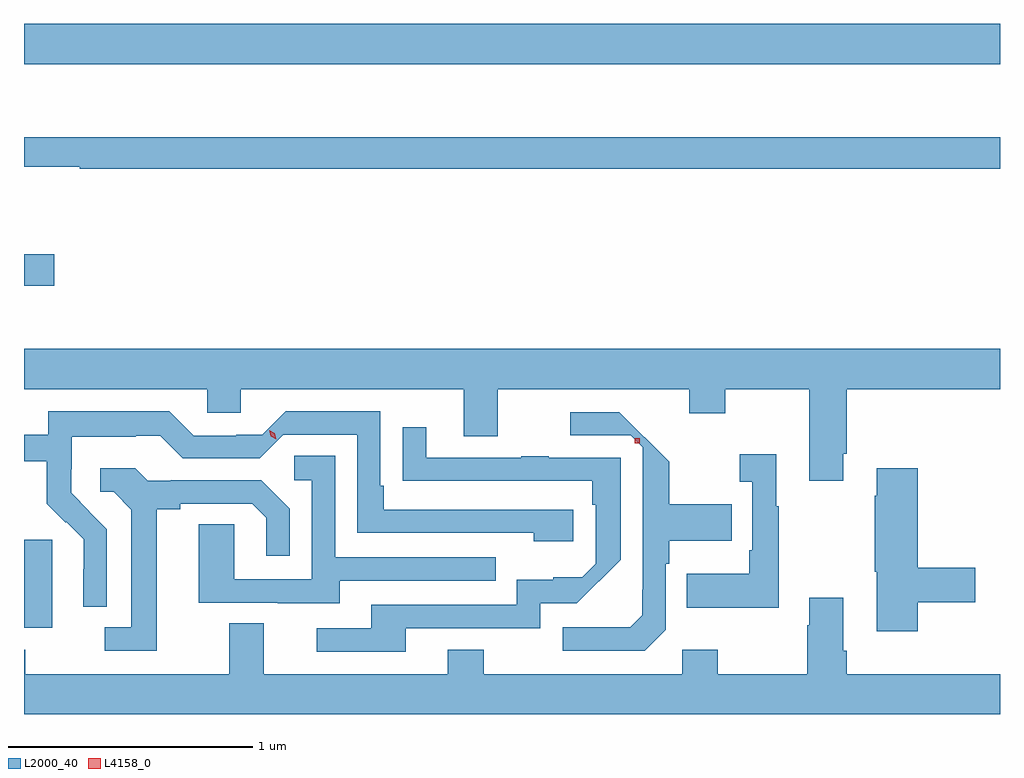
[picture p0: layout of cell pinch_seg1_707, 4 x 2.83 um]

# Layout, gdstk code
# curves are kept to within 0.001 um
import gdstk
lib = gdstk.Library(unit=1e-6, precision=1e-09)
def R(c, l, rs):  # rectangles x0, y0, x1, y1
    for r in rs: c.add(gdstk.rectangle(r[:2], r[2:], *l))
def P(c, l, *ps):  # polygons
    for p in ps: c.add(gdstk.Polygon(p, *l))
L2000_40 = (2000, 40)
L4158_0 = (4158, 0)

pinch_seg1_707 = lib.new_cell('pinch_seg1_707')
R(pinch_seg1_707, L2000_40, [(658.893,553.418,659.008,553.779), (658.893,554.819,659.017,554.949), (658.893,555.728,662.893,555.892)])
P(pinch_seg1_707, L2000_40, [(662.893,555.427),(658.893,555.427),(658.893,555.306),(659.122,555.306),(659.122,555.298),(662.893,555.298)],
  [(658.893,554.396),(659.643,554.396),(659.643,554.298),(659.782,554.298),(659.782,554.396),(660.695,554.396),(660.695,554.202),(660.835,554.202),(660.835,554.396),(661.619,554.396),(661.619,554.297),(661.767,554.297),(661.767,554.396),(662.111,554.396),(662.111,554.019),(662.251,554.019),(662.251,554.131),(662.264,554.131),(662.264,554.396),(662.893,554.396),(662.893,554.56),(658.893,554.56)],
  [(659.232,553.822),(659.086,553.97),(659.086,554.067),(659.088,554.067),(659.088,554.201),(659.351,554.201),(659.351,554.205),(659.451,554.205),(659.544,554.112),(659.859,554.112),(659.955,554.208),(660.258,554.208),(660.258,553.806),(660.983,553.806),(660.983,553.772),(661.144,553.772),(661.144,553.902),(660.367,553.902),(660.367,553.999),(660.354,553.999),(660.354,554.304),(659.966,554.304),(659.87,554.208),(659.762,554.208),(659.762,554.205),(659.589,554.205),(659.489,554.305),(658.992,554.305),(658.992,554.208),(658.893,554.208),(658.893,554.1),(658.987,554.1),(658.987,553.925),(659.064,553.848),(659.067,553.851),(659.138,553.781),(659.138,553.658),(659.136,553.658),(659.136,553.504),(659.232,553.504)],
  [(661.524,553.41),(661.524,553.679),(661.537,553.679),(661.537,553.775),(661.793,553.775),(661.793,553.923),(661.537,553.923),(661.537,554.098),(661.333,554.301),(661.131,554.301),(661.131,554.206),(661.38,554.206),(661.429,554.157),(661.427,553.469),(661.377,553.419),(661.101,553.419),(661.101,553.323),(661.437,553.323)],
  [(660.457,553.416),(661.008,553.416),(661.008,553.518),(661.159,553.518),(661.338,553.697),(661.338,554.115),(661.043,554.115),(661.043,554.12),(660.931,554.12),(660.931,554.115),(660.541,554.115),(660.541,554.239),(660.445,554.239),(660.445,554.02),(661.222,554.019),(661.222,553.922),(661.236,553.922),(661.236,553.679),(661.181,553.624),(661.062,553.624),(661.062,553.615),(660.912,553.615),(660.912,553.512),(660.317,553.512),(660.317,553.416),(660.093,553.416),(660.093,553.32),(660.457,553.32)],
  [(661.987,553.915),(661.975,553.915),(661.975,554.128),(661.827,554.128),(661.827,554.015),(661.878,554.015),(661.878,553.735),(661.866,553.735),(661.866,553.639),(661.609,553.639),(661.609,553.499),(661.987,553.499)],
  [(660.187,553.611),(660.827,553.611),(660.827,553.707),(660.168,553.707),(660.168,554.123),(660,554.123),(660,554.022),(660.072,554.022),(660.072,553.617),(659.754,553.617),(659.754,553.841),(659.609,553.841),(659.609,553.521),(659.933,553.521),(659.933,553.517),(660.187,553.517)],
  [(659.437,553.904),(659.533,553.904),(659.533,553.926),(659.828,553.926),(659.885,553.869),(659.885,553.713),(659.982,553.713),(659.982,553.906),(659.866,554.022),(659.494,554.022),(659.494,554.019),(659.4,554.019),(659.348,554.071),(659.205,554.071),(659.205,553.974),(659.26,553.974),(659.333,553.901),(659.333,553.419),(659.223,553.419),(659.223,553.323),(659.437,553.323)],
  [(662.555,553.522),(662.791,553.522),(662.791,553.664),(662.555,553.664),(662.555,554.071),(662.387,554.071),(662.387,553.958),(662.38,553.958),(662.38,553.647),(662.387,553.647),(662.387,553.404),(662.555,553.404)],
  [(662.893,553.228),(662.264,553.228),(662.264,553.324),(662.251,553.324),(662.251,553.54),(662.111,553.54),(662.111,553.427),(662.104,553.427),(662.104,553.228),(661.737,553.228),(661.737,553.327),(661.59,553.327),(661.59,553.228),(660.777,553.228),(660.777,553.327),(660.629,553.327),(660.629,553.228),(659.875,553.228),(659.875,553.436),(659.735,553.436),(659.735,553.228),(658.899,553.228),(658.899,553.327),(658.893,553.327),(658.893,553.064),(662.893,553.064)])
R(pinch_seg1_707, L4158_0, [(661.397,554.174,661.417,554.194)])
P(pinch_seg1_707, L4158_0, [(659.926,554.19),(659.904,554.203),(659.898,554.228),(659.898,554.228),(659.899,554.228),(659.92,554.215),(659.926,554.19),(659.926,554.19)])

lib.write_gds('pinch_seg1_707.gds')
